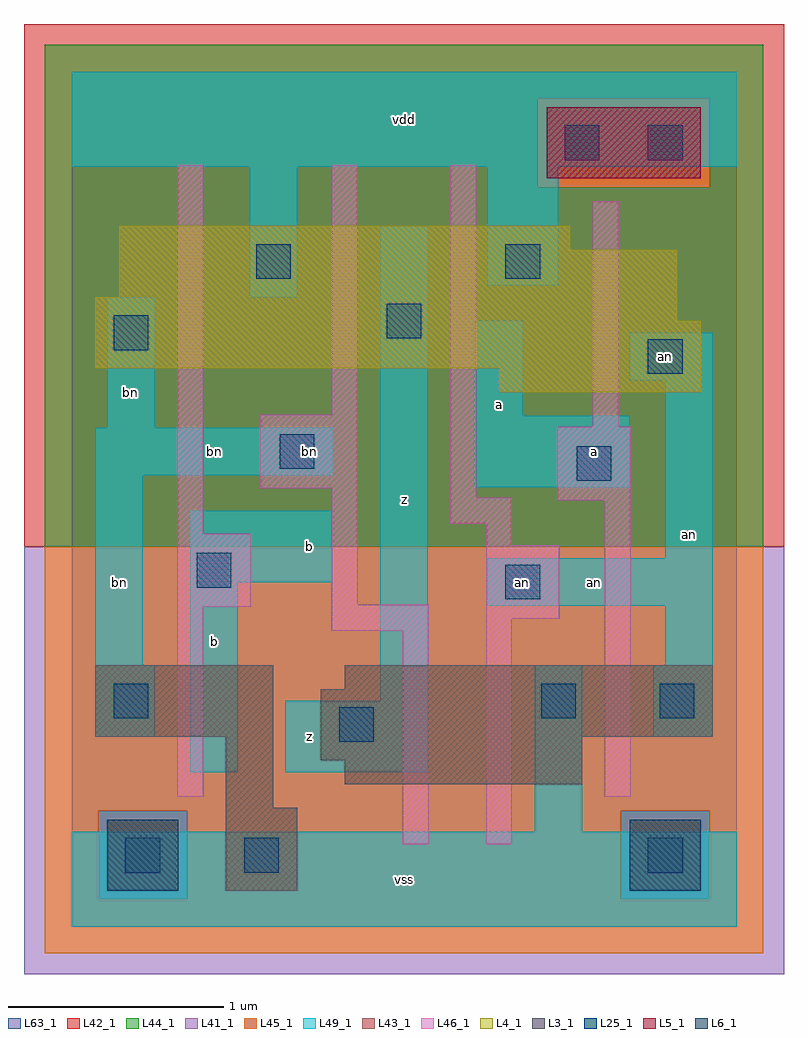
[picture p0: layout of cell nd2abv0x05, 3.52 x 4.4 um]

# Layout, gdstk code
import gdstk
lib = gdstk.Library(unit=1e-6, precision=1e-09)
def R(c, l, rs):  # rectangles x0, y0, x1, y1
    for r in rs: c.add(gdstk.rectangle(r[:2], r[2:], *l))
L3_1 = (3, 1)
L4_1 = (4, 1)
L5_1 = (5, 1)
L6_1 = (6, 1)
L25_1 = (25, 1)
L41_1 = (41, 1)
L42_1 = (42, 1)
L43_1 = (43, 1)
L44_1 = (44, 1)
L45_1 = (45, 1)
L46_1 = (46, 1)
L49_1 = (49, 1)
L63_1 = (63, 1)

nd2abv0x05 = lib.new_cell('nd2abv0x05')
R(nd2abv0x05, L3_1, [(0.715,0.165,1.045,0.55), (0.715,0.55,0.935,0.88), (1.265,0.66,2.365,0.77), (1.155,0.77,2.365,0.88), (0.11,0.88,0.935,1.21), (1.155,0.88,2.97,1.1), (1.265,1.1,2.97,1.21)])
R(nd2abv0x05, L4_1, [(1.98,2.475,2.915,2.585), (0.11,2.585,2.915,2.805), (0.11,2.805,2.805,2.915), (0.22,2.915,2.805,3.135), (0.22,3.135,2.31,3.245)])
R(nd2abv0x05, L5_1, [(2.2,3.465,2.915,3.795)])
R(nd2abv0x05, L6_1, [(0.165,0.165,0.495,0.495), (2.585,0.165,2.915,0.495)])
R(nd2abv0x05, L25_1, [(0.25,0.25,0.41,0.41), (0.8,0.25,0.96,0.41), (2.67,0.25,2.83,0.41), (1.24,0.855,1.4,1.015), (0.195,0.965,0.355,1.125), (2.175,0.965,2.335,1.125), (2.725,0.965,2.885,1.125), (2.01,1.515,2.17,1.675), (0.58,1.57,0.74,1.73), (2.34,2.065,2.5,2.225), (0.965,2.12,1.125,2.28), (2.67,2.56,2.83,2.72), (0.195,2.67,0.355,2.83), (1.46,2.725,1.62,2.885), (0.855,3,1.015,3.16), (2.01,3,2.17,3.16), (2.285,3.55,2.445,3.71), (2.67,3.55,2.83,3.71)])
R(nd2abv0x05, L41_1, [(-0.22,-0.22,3.3,1.76)])
R(nd2abv0x05, L42_1, [(-0.22,1.76,3.3,4.18)])
R(nd2abv0x05, L43_1, [(0.165,0.165,0.495,0.495), (0.715,0.165,1.045,0.55), (2.585,0.165,2.915,0.495), (0.715,0.55,0.935,0.88), (1.265,0.66,2.365,0.77), (1.155,0.77,2.365,0.88), (0.11,0.88,0.935,1.21), (1.155,0.88,2.97,1.1), (1.265,1.1,2.97,1.21), (1.98,2.475,2.915,2.585), (0.11,2.585,2.915,2.805), (0.11,2.805,2.805,2.915), (0.22,2.915,2.805,3.135), (0.22,3.135,2.31,3.245), (2.2,3.465,2.915,3.795)])
R(nd2abv0x05, L44_1, [(0.125,0.125,0.535,0.535), (2.545,0.125,2.955,0.535), (-0.125,1.76,3.205,3.425), (-0.125,3.425,2.16,3.835), (2.955,3.425,3.205,3.835), (-0.125,3.835,3.205,4.085)])
R(nd2abv0x05, L45_1, [(-0.125,-0.125,3.205,0.125), (-0.125,0.125,0.125,0.535), (0.535,0.125,2.545,0.535), (2.955,0.125,3.205,0.535), (-0.125,0.535,3.205,1.76), (2.16,3.425,2.955,3.835)])
R(nd2abv0x05, L46_1, [(1.535,0.38,1.655,1.37), (1.92,0.38,2.04,1.425), (0.49,0.6,0.61,1.48), (2.47,0.6,2.59,1.975), (1.205,1.37,1.655,1.49), (1.92,1.425,2.26,1.765), (0.49,1.48,0.83,1.82), (1.205,1.49,1.325,2.03), (1.92,1.765,2.04,1.865), (0.49,1.82,0.61,3.525), (1.755,1.865,2.04,1.985), (2.25,1.975,2.59,2.315), (1.755,1.985,1.875,3.525), (0.875,2.03,1.325,2.37), (2.415,2.315,2.535,3.36), (1.205,2.37,1.325,3.525)])
R(nd2abv0x05, L49_1, [(0,0,3.08,0.44), (2.145,0.44,2.365,1.21), (0.55,0.715,0.77,1.595), (0.99,0.715,1.65,1.045), (0.11,0.88,0.385,1.21), (2.695,0.88,2.97,1.21), (1.43,1.045,1.65,3.245), (0.11,1.21,0.33,2.09), (2.75,1.21,2.97,1.485), (1.925,1.485,2.97,1.705), (0.55,1.595,1.21,1.925), (2.75,1.705,2.97,2.53), (1.87,2.035,2.585,2.365), (0.11,2.09,1.21,2.31), (0.165,2.31,0.385,2.915), (1.87,2.365,2.09,2.805), (2.585,2.53,2.97,2.75), (0.825,2.915,1.045,3.52), (1.925,2.97,2.255,3.52), (0,3.52,3.08,3.96)])
R(nd2abv0x05, L63_1, [(0,0,3.08,3.96)])
nd2abv0x05.add(gdstk.Label('bn', (1.1,2.2), layer=49, texttype=1))
nd2abv0x05.add(gdstk.Label('an', (2.09,1.595), layer=49, texttype=1))
nd2abv0x05.add(gdstk.Label('bn', (0.275,2.475), layer=49, texttype=1))
nd2abv0x05.add(gdstk.Label('bn', (0.22,1.595), layer=49, texttype=1))
nd2abv0x05.add(gdstk.Label('z', (1.1,0.88), layer=49, texttype=1))
nd2abv0x05.add(gdstk.Label('b', (0.66,1.32), layer=49, texttype=1))
nd2abv0x05.add(gdstk.Label('b', (1.1,1.76), layer=49, texttype=1))
nd2abv0x05.add(gdstk.Label('bn', (0.66,2.2), layer=49, texttype=1))
nd2abv0x05.add(gdstk.Label('vss', (1.54,0.22), layer=49, texttype=1))
nd2abv0x05.add(gdstk.Label('z', (1.54,1.98), layer=49, texttype=1))
nd2abv0x05.add(gdstk.Label('a', (1.98,2.42), layer=49, texttype=1))
nd2abv0x05.add(gdstk.Label('vdd', (1.54,3.74), layer=49, texttype=1))
nd2abv0x05.add(gdstk.Label('an', (2.42,1.595), layer=49, texttype=1))
nd2abv0x05.add(gdstk.Label('a', (2.42,2.2), layer=49, texttype=1))
nd2abv0x05.add(gdstk.Label('an', (2.86,1.815), layer=49, texttype=1))
nd2abv0x05.add(gdstk.Label('an', (2.75,2.64), layer=49, texttype=1))

lib.write_gds('nd2abv0x05.gds')
